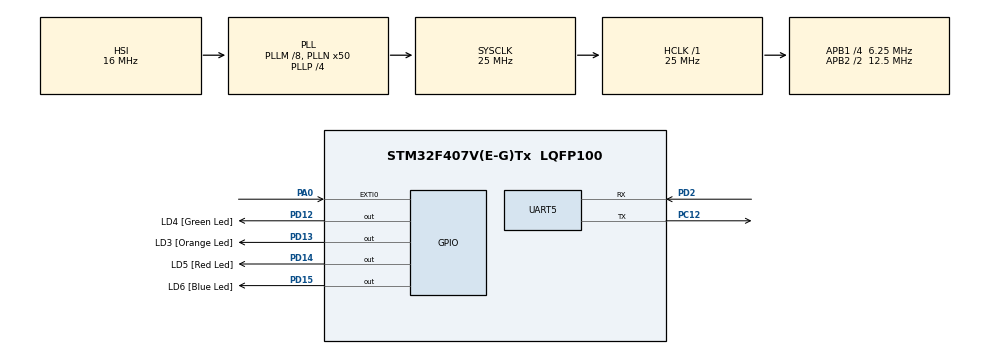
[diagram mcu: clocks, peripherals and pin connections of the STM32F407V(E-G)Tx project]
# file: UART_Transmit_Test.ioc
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Dma.Request0=UART5_TX
Dma.UART5_TX.0.Direction=DMA_MEMORY_TO_PERIPH
Dma.UART5_TX.0.FIFOMode=DMA_FIFOMODE_DISABLE
Dma.UART5_TX.0.Instance=DMA1_Stream7
Dma.UART5_TX.0.MemDataAlignment=DMA_MDATAALIGN_BYTE
Dma.UART5_TX.0.MemInc=DMA_MINC_ENABLE
Dma.UART5_TX.0.Mode=DMA_NORMAL
Dma.UART5_TX.0.PeriphDataAlignment=DMA_PDATAALIGN_BYTE
Dma.UART5_TX.0.PeriphInc=DMA_PINC_DISABLE
Dma.UART5_TX.0.Priority=DMA_PRIORITY_LOW
Mcu.Family=STM32F4
Mcu.Name=STM32F407V(E-G)Tx
Mcu.Package=LQFP100
NVIC.DMA1_Stream7_IRQn=true\:0\:0\:false\:false\:true\:false\:true\:true
NVIC.EXTI0_IRQn=true\:0\:0\:false\:false\:true\:true\:true\:true
NVIC.PriorityGroup=NVIC_PRIORITYGROUP_0
NVIC.UART5_IRQn=true\:0\:0\:false\:false\:true\:true\:true\:true
PA0-WKUP.Signal=GPXTI0
PC12.Mode=Asynchronous
PC12.Signal=UART5_TX
PD12.GPIO_Label=LD4 [Green Led]
PD12.GPIO_PuPd=GPIO_NOPULL
PD12.GPIO_Speed=GPIO_SPEED_FREQ_LOW
PD12.Signal=GPIO_Output
PD13.GPIO_Label=LD3 [Orange Led]
PD13.GPIO_PuPd=GPIO_NOPULL
PD13.GPIO_Speed=GPIO_SPEED_FREQ_LOW
PD13.Signal=GPIO_Output
PD14.GPIO_Label=LD5 [Red Led]
PD14.GPIO_PuPd=GPIO_NOPULL
PD14.GPIO_Speed=GPIO_SPEED_FREQ_LOW
PD14.Signal=GPIO_Output
PD15.GPIO_Label=LD6 [Blue Led]
PD15.GPIO_PuPd=GPIO_NOPULL
PD15.GPIO_Speed=GPIO_SPEED_FREQ_LOW
PD15.Signal=GPIO_Output
PD2.Mode=Asynchronous
PD2.Signal=UART5_RX
ProjectManager.HeapSize=0x2000
ProjectManager.StackSize=0x4000
ProjectManager.TargetToolchain=STM32CubeIDE
RCC.48MHZClocksFreq_Value=14285714.285714285
RCC.AHBFreq_Value=25000000
RCC.APB1CLKDivider=RCC_HCLK_DIV4
RCC.APB1Freq_Value=6250000
RCC.APB1TimFreq_Value=12500000
RCC.APB2CLKDivider=RCC_HCLK_DIV2
RCC.APB2Freq_Value=12500000
RCC.APB2TimFreq_Value=25000000
RCC.CortexFreq_Value=25000000
RCC.HCLKFreq_Value=25000000
RCC.HSE_VALUE=8000000
RCC.HSI_VALUE=16000000
RCC.LSE_VALUE=32768
RCC.PLLM=8
RCC.PLLN=50
RCC.PLLP=RCC_PLLP_DIV4
RCC.PLLQ=7
RCC.SYSCLKFreq_VALUE=25000000
RCC.SYSCLKSource=RCC_SYSCLKSOURCE_PLLCLK
RCC.VCOOutputFreq_Value=100000000
UART5.VirtualMode=Asynchronous
board=STM32F407G-DISC1

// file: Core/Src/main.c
/* USER CODE BEGIN Header */
/**
  ******************************************************************************
  * @file           : main.c
  * @brief          : Main program body
  ******************************************************************************
  * @attention
  *
  * Copyright (c) 2022 STMicroelectronics.
  * All rights reserved.
  *
  * This software is licensed under terms that can be found in the LICENSE file
  * in the root directory of this software component.
  * If no LICENSE file comes with this software, it is provided AS-IS.
  *
  ******************************************************************************
  */
/* USER CODE END Header */
#include "main.h"

/* USER CODE BEGIN Includes */
#include "string.h"
/* USER CODE END Includes */

/* USER CODE BEGIN PTD */

#define BUFFER_SIZE 64000	// approx. size of 1s of recording

/* USER CODE END PTD */

UART_HandleTypeDef huart5;
DMA_HandleTypeDef hdma_uart5_tx;

/* USER CODE BEGIN PV */

uint8_t str[BUFFER_SIZE];
uint8_t* pstr = NULL;
//uint8_t strbuf1[BUFFER_SIZE/2];
//uint8_t* pstrbuf1 = NULL;
//uint8_t strbuf2[BUFFER_SIZE/2];
//uint8_t* pstrbuf2 = NULL;

/* USER CODE END PV */

void SystemClock_Config(void);
static void MX_GPIO_Init(void);
static void MX_DMA_Init(void);
static void MX_UART5_Init(void);
/* USER CODE BEGIN PFP */
void HAL_UART_TxHalfCpltCallback(UART_HandleTypeDef *huart);
void HAL_UART_TxCpltCallback(UART_HandleTypeDef *huart);
/* USER CODE END PFP */

int main(void)
{
  /* USER CODE BEGIN 1 */
	/* assign pointer to string the adress of the string*/
	pstr = str;

//	/* assign pointer to string buffer the adress of the string buffer*/
//	pstrbuf1 = strbuf1;
//	/* write data "1" in first half of buffer*/
//	memset((void*)pstrbuf1,0,BUFFER_SIZE/2);
//
//	/* assign pointer to string buffer the adress of the string buffer*/
//	pstrbuf2 = strbuf2;
//	/* write data "1" in first half of buffer*/
//	memset((void*)pstrbuf2,0,BUFFER_SIZE/2);

	/* write data "1" in first half of buffer*/
	memset((void*)pstr,72,BUFFER_SIZE/2);
	/* write data "2" in second half of buffer*/
	memset((void*)(pstr+BUFFER_SIZE/2),73,BUFFER_SIZE/2);

  /* USER CODE END 1 */

  /* MCU Configuration--------------------------------------------------------*/

  /* Reset of all peripherals, Initializes the Flash interface and the Systick. */
  HAL_Init();

  /* Configure the system clock */
  SystemClock_Config();

  /* Initialize all configured peripherals */
  MX_GPIO_Init();
  MX_DMA_Init();
  MX_UART5_Init();
  /* USER CODE BEGIN 2 */
  //HAL_UART_Transmit_IT(&huart5, str, 12);
  /* USER CODE END 2 */

  /* Infinite loop */
  /* USER CODE BEGIN WHILE */
  while (1)
  {
		HAL_GPIO_TogglePin(GPIOD, GPIO_PIN_12);
		HAL_Delay(250);
		//HAL_UART_Transmit(&huart5, str, sizeof(str), 1000);
    /* USER CODE END WHILE */

  }
}

void SystemClock_Config(void)
{
  RCC_OscInitTypeDef RCC_OscInitStruct = {0};
  RCC_ClkInitTypeDef RCC_ClkInitStruct = {0};

  /** Configure the main internal regulator output voltage
  */
  __HAL_RCC_PWR_CLK_ENABLE();
  __HAL_PWR_VOLTAGESCALING_CONFIG(PWR_REGULATOR_VOLTAGE_SCALE1);

  /** Initializes the RCC Oscillators according to the specified parameters
  * in the RCC_OscInitTypeDef structure.
  */
  RCC_OscInitStruct.OscillatorType = RCC_OSCILLATORTYPE_HSI;
  RCC_OscInitStruct.HSIState = RCC_HSI_ON;
  RCC_OscInitStruct.HSICalibrationValue = RCC_HSICALIBRATION_DEFAULT;
  RCC_OscInitStruct.PLL.PLLState = RCC_PLL_ON;
  RCC_OscInitStruct.PLL.PLLSource = RCC_PLLSOURCE_HSI;
  RCC_OscInitStruct.PLL.PLLM = 8;
  RCC_OscInitStruct.PLL.PLLN = 50;
  RCC_OscInitStruct.PLL.PLLP = RCC_PLLP_DIV4;
  RCC_OscInitStruct.PLL.PLLQ = 7;
  if (HAL_RCC_OscConfig(&RCC_OscInitStruct) != HAL_OK)
  {
    Error_Handler();
  }

  /** Initializes the CPU, AHB and APB buses clocks
  */
  RCC_ClkInitStruct.ClockType = RCC_CLOCKTYPE_HCLK|RCC_CLOCKTYPE_SYSCLK
                              |RCC_CLOCKTYPE_PCLK1|RCC_CLOCKTYPE_PCLK2;
  RCC_ClkInitStruct.SYSCLKSource = RCC_SYSCLKSOURCE_PLLCLK;
  RCC_ClkInitStruct.AHBCLKDivider = RCC_SYSCLK_DIV1;
  RCC_ClkInitStruct.APB1CLKDivider = RCC_HCLK_DIV4;
  RCC_ClkInitStruct.APB2CLKDivider = RCC_HCLK_DIV2;

  if (HAL_RCC_ClockConfig(&RCC_ClkInitStruct, FLASH_LATENCY_0) != HAL_OK)
  {
    Error_Handler();
  }
}

static void MX_UART5_Init(void)
{

  huart5.Instance = UART5;
  huart5.Init.BaudRate = 115200;
  huart5.Init.WordLength = UART_WORDLENGTH_8B;
  huart5.Init.StopBits = UART_STOPBITS_1;
  huart5.Init.Parity = UART_PARITY_NONE;
  huart5.Init.Mode = UART_MODE_TX_RX;
  huart5.Init.HwFlowCtl = UART_HWCONTROL_NONE;
  huart5.Init.OverSampling = UART_OVERSAMPLING_16;
  if (HAL_UART_Init(&huart5) != HAL_OK)
  {
    Error_Handler();
  }

}

static void MX_DMA_Init(void)
{

  /* DMA controller clock enable */
  __HAL_RCC_DMA1_CLK_ENABLE();

  /* DMA interrupt init */
  /* DMA1_Stream7_IRQn interrupt configuration */
  HAL_NVIC_SetPriority(DMA1_Stream7_IRQn, 0, 0);
  HAL_NVIC_EnableIRQ(DMA1_Stream7_IRQn);

}

static void MX_GPIO_Init(void)
{
  GPIO_InitTypeDef GPIO_InitStruct = {0};

  /* GPIO Ports Clock Enable */
  __HAL_RCC_GPIOA_CLK_ENABLE();
  __HAL_RCC_GPIOD_CLK_ENABLE();
  __HAL_RCC_GPIOC_CLK_ENABLE();

  /*Configure GPIO pin Output Level */
  HAL_GPIO_WritePin(GPIOD, LD4_Pin|LD3_Pin|LD5_Pin|LD6_Pin, GPIO_PIN_RESET);

  /*Configure GPIO pin : PA0 */
  GPIO_InitStruct.Pin = GPIO_PIN_0;
  GPIO_InitStruct.Mode = GPIO_MODE_IT_RISING;
  GPIO_InitStruct.Pull = GPIO_NOPULL;
  HAL_GPIO_Init(GPIOA, &GPIO_InitStruct);

  /*Configure GPIO pins : LD4_Pin LD3_Pin LD5_Pin LD6_Pin */
  GPIO_InitStruct.Pin = LD4_Pin|LD3_Pin|LD5_Pin|LD6_Pin;
  GPIO_InitStruct.Mode = GPIO_MODE_OUTPUT_PP;
  GPIO_InitStruct.Pull = GPIO_NOPULL;
  GPIO_InitStruct.Speed = GPIO_SPEED_FREQ_LOW;
  HAL_GPIO_Init(GPIOD, &GPIO_InitStruct);

  /* EXTI interrupt init*/
  HAL_NVIC_SetPriority(EXTI0_IRQn, 0, 0);
  HAL_NVIC_EnableIRQ(EXTI0_IRQn);

}

/* USER CODE BEGIN 4 */

/**
  * @brief  Tx Half Transfer completed callbacks.
  * @param  huart  Pointer to a UART_HandleTypeDef structure that contains
  *                the configuration information for the specified UART module.
  * @retval None
  */
void HAL_UART_TxHalfCpltCallback(UART_HandleTypeDef *huart)
{
	/* buffer first half of the string*/
	//memcpy((void*)(pstrbuf1),(const void*)(pstr),BUFFER_SIZE/2 );

	/* buffer second half of the string*/
	//memcpy((void*)(pstrbuf2),(const void*)(pstr+BUFFER_SIZE/2),BUFFER_SIZE/2);

	/* assign second half of the string to the first half of the string*/
	//memcpy((void*)(pstr),(const void*)pstrbuf2,BUFFER_SIZE/2);
}

/**
  * @brief  Tx Transfer completed callbacks.
  * @param  huart  Pointer to a UART_HandleTypeDef structure that contains
  *                the configuration information for the specified UART module.
  * @retval None
  */
void HAL_UART_TxCpltCallback(UART_HandleTypeDef *huart)
{
	/* assign buffer to second part of the string*/
	//memcpy((void*)(pstr+BUFFER_SIZE/2),(const void*)pstrbuf1,BUFFER_SIZE/2 );
}

/**
  * @brief  EXTI line detection callbacks.
  * @param  GPIO_Pin Specifies the pins connected EXTI line
  * @retval None
  */
void HAL_GPIO_EXTI_Callback(uint16_t GPIO_Pin)
{
	if (GPIO_Pin == GPIO_PIN_0)
	{
		HAL_UART_Transmit_DMA(&huart5, str, BUFFER_SIZE);
		//HAL_UART_Transmit(&huart5, str, sizeof(str), 250);
		HAL_GPIO_TogglePin(GPIOD, GPIO_PIN_15);
	}
}

/* USER CODE END 4 */

void Error_Handler(void)
{
  __disable_irq();
  while (1)
  {
  }
}
